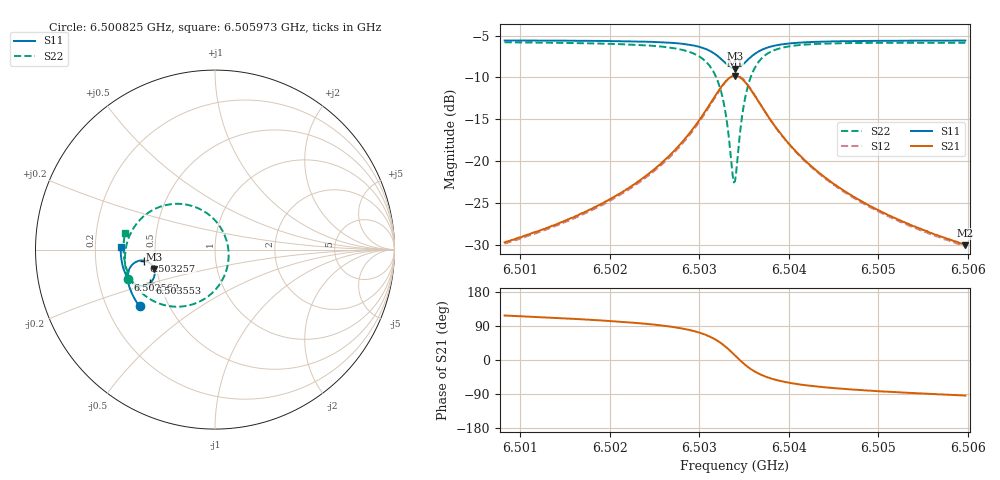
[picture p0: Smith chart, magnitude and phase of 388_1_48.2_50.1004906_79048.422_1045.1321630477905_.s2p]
#  HZ  S  RI  R  50.00
! Rohde & Schwarz Vector Network Analyzer
! Rohde-Schwarz,ZNB20-2Port,1311601062101988,3.16
! Created: UTC 3/20/2024, 11:53:23 AM
! freq[Hz]  re:S11  im:S11  re:S21  im:S21  re:S12  im:S12  re:S22  im:S22
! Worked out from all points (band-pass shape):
!   401 points, 6.500825 GHz to 6.505973 GHz, reference 50 ohm
!   highest |S21| = -9.80 dB at 6.503399 GHz (marker M1); lowest = -30.0 dB at 6.505973 GHz (marker M2)
!   |S21| within 3 dB of the highest: 6.503142 GHz to 6.503657 GHz (514.7 kHz wide, 0.00791 % of centre)
!   lowest |S11| = -9.0 dB at 6.503399 GHz (marker M3), VSWR 2.11, Z = 24.2 - j6.08 ohm
!   |S11| at or under -10 dB: nowhere
!   |S22| runs from -22.6 to -5.8 dB; largest |S21 - S12| = 0.011
!   S11 on the Smith chart (normalised r, x): 6.500825 GHz: 0.34, -0.30; 6.502562 GHz: 0.33, -0.15; 6.503257 GHz: 0.43, -0.06; 6.503553 GHz: 0.44, -0.20; 6.505973 GHz: 0.31, +0.01
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6.5008247e9  -0.4204 -0.3168  -0.015 0.029  -0.0133 0.0293  -0.4859 -0.1656
6.5016871e9  -0.4583 -0.2542  -0.0145 0.0466  -0.0122 0.0461  -0.5012 -0.0759
6.5021505e9  -0.4751 -0.2139  -0.0119 0.0649  -0.00902 0.0638  -0.4996 -0.0121
6.5025495e9  -0.4853 -0.1709  -0.00318 0.0943  0.000322 0.0921  -0.4812 0.065
6.5025623e9  -0.4854 -0.1693  -0.00261 0.0957  0.000989 0.0933  -0.4801 0.068
6.5028069e9  -0.485 -0.1342  0.0154 0.1287  0.0192 0.1249  -0.4423 0.1373
6.5029871e9  -0.4737 -0.1009  0.0497 0.1646  0.0528 0.1592  -0.3748 0.2034
6.5031544e9  -0.4393 -0.0679  0.1265 0.1978  0.1276 0.1915  -0.2339 0.2542
6.5032574e9  -0.3971 -0.0609  0.2109 0.1893  0.2111 0.184  -0.087 0.2273
6.5033089e9  -0.3718 -0.0693  0.259 0.1618  0.2596 0.1573  -0.00724 0.1708
6.5033732e9  -0.3454 -0.0952  0.3063 0.0993  0.3087 0.0943  0.0643 0.0506
6.503399e9  -0.3391 -0.1097  0.3166 0.0675  0.3195 0.0619  0.0752 -0.00845
6.5034119e9  -0.3371 -0.1172  0.3192 0.0511  0.3224 0.0448  0.0762 -0.0387
6.5034891e9  -0.3429 -0.1615  0.3028 -0.0424  0.3048 -0.0521  0.02 -0.202
6.5035534e9  -0.3636 -0.1871  0.2607 -0.0959  0.2597 -0.1069  -0.0748 -0.2839
6.5036564e9  -0.4025 -0.202  0.1876 -0.1319  0.1823 -0.1411  -0.222 -0.318
6.5038237e9  -0.4482 -0.1924  0.1071 -0.1293  0.1002 -0.134  -0.3672 -0.2726
6.5040039e9  -0.4754 -0.1711  0.0631 -0.1098  0.0571 -0.1119  -0.4382 -0.2087
6.5042614e9  -0.496 -0.1411  0.0336 -0.086  0.029 -0.0864  -0.4813 -0.1375
6.5046604e9  -0.5119 -0.1  0.0144 -0.0627  0.0112 -0.0623  -0.504 -0.061
6.5051238e9  -0.5209 -0.0575  0.00506 -0.047  0.00279 -0.0464  -0.5098 0.00253
6.5059733e9  -0.5258 0.0138  -0.00208 -0.0314  -0.00333 -0.0308  -0.5017 0.0912
